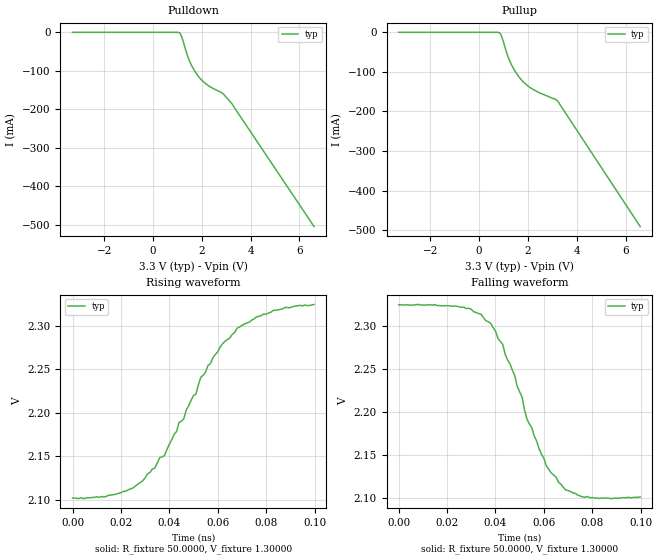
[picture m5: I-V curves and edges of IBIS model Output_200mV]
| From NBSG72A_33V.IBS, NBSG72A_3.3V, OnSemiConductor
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[Model] Output_200mV
Model_type Output_ECL
Vref=1.3000V
Rref=50.0000ohms
Cref=0.00000pF
Vmeas=2.21338V
C_comp 0.50000pF NA NA
| variable typ   min   max
[Voltage Range]   3.30000V  NA   NA
[POWER Clamp Reference] 3.30000V  NA   NA
[Pullup Reference]   3.30000V  NA   NA
[Pulldown Reference]   3.30000V  NA   NA
[GND Clamp Reference]   0.00000V  NA   NA
[Temperature Range] 25   NA   NA
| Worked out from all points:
|   falling waveform, R_fixture 50.0000, V_fixture 1.30000: 20-80 % time 17.4ps typ, NA min, NA max; typ from 2.33 V to 2.1 V
|   rising waveform, R_fixture 50.0000, V_fixture 1.30000: 20-80 % time 26.6ps typ, NA min, NA max; typ from 2.1 V to 2.33 V
[GND Clamp]
-7.2V     0A         NA         NA
-6.6V     0A         NA         NA
-6V       0A         NA         NA
0V        0A         NA         NA
3V        0A         NA         NA
3.3V      0A         NA         NA
3.6V      0A         NA         NA
[Pulldown]
-3.3V     8.682uA    NA         NA
938mV     0A         NA         NA
1.1V      -2.288mA   NA         NA
1.18V     -12.58mA   NA         NA
1.419V    -61.95mA   NA         NA
1.5V      -75.16mA   NA         NA
1.818V    -111mA     NA         NA
2.02V     -125.6mA   NA         NA
2.258V    -138.1mA   NA         NA
2.859V    -158.9mA   NA         NA
3.219V    -184.2mA   NA         NA
6.6V      -504.1mA   NA         NA
[Pullup]
-3.3V     0A         NA         NA
822.2mV   -1.071mA   NA         NA
862.6mV   -3.122mA   NA         NA
938mV     -13.39mA   NA         NA
1.14V     -53.84mA   NA         NA
1.261V    -73.61mA   NA         NA
1.459V    -97.15mA   NA         NA
1.621V    -112.1mA   NA         NA
1.818V    -125.9mA   NA         NA
2.101V    -140.3mA   NA         NA
3.219V    -174mA     NA         NA
6.6V      -491.1mA   NA         NA
[POWER Clamp]
-6.9V     0A         NA         NA
-6.6V     0A         NA         NA
-6.3V     0A         NA         NA
-300mV    0A         NA         NA
0V        0A         NA         NA
300mV     0A         NA         NA
2.7V      0A         NA         NA
3.3V      0A         NA         NA
3.9V      0A         NA         NA
[Falling Waveform]
R_fixture = 50.0000
V_fixture = 1.30000
0s        2.325V     NA         NA
24ps      2.323V     NA         NA
34ps      2.314V     NA         NA
43ps      2.279V     NA         NA
51ps      2.218V     NA         NA
53ps      2.192V     NA         NA
61ps      2.138V     NA         NA
66ps      2.119V     NA         NA
77ps      2.101V     NA         NA
99.8ps    2.102V     NA         NA
[Rising Waveform]
R_fixture = 50.0000
V_fixture = 1.30000
0s        2.102V     NA         NA
18ps      2.106V     NA         NA
29ps      2.122V     NA         NA
38ps      2.151V     NA         NA
44ps      2.189V     NA         NA
51ps      2.222V     NA         NA
53ps      2.241V     NA         NA
68ps      2.298V     NA         NA
83ps      2.318V     NA         NA
99.8ps    2.325V     NA         NA
[Ramp]
| variable typ min max
dV/dt_r 131.303m/26.5775p NA NA
dV/dt_f 131.303m/17.5150p NA NA
R_load = 50.0000Ohms
